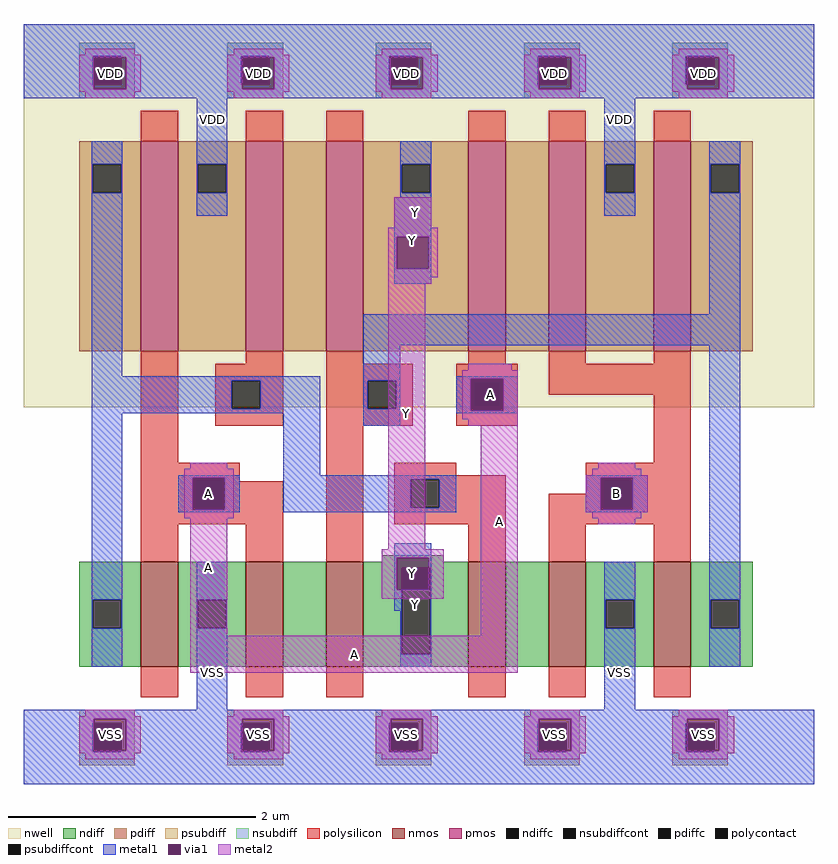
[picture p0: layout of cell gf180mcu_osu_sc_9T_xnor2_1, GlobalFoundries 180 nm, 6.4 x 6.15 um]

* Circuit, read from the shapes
.subckt gf180mcu_osu_sc_9T_xnor2_1 A Y B VDD VSS
XM1 VSS A n1 VSS nfet_03v3 w=0.85u l=0.3u
XM2 n2 A VSS VSS nfet_03v3 w=0.85u l=0.3u
XM3 Y n3 n2 VSS nfet_03v3 w=0.85u l=0.3u
XM4 n4 n1 Y VSS nfet_03v3 w=0.85u l=0.3u
XM5 VSS B n4 VSS nfet_03v3 w=0.85u l=0.3u
XM6 n3 B VSS VSS nfet_03v3 w=0.85u l=0.3u
XM7 VDD A n1 VDD pfet_03v3 w=1.7u l=0.3u
XM8 n5 n1 VDD VDD pfet_03v3 w=1.7u l=0.3u
XM9 Y n3 n5 VDD pfet_03v3 w=1.7u l=0.3u
XM10 n6 A Y VDD pfet_03v3 w=1.7u l=0.3u
XM11 VDD B n6 VDD pfet_03v3 w=1.7u l=0.3u
XM12 n3 B VDD VDD pfet_03v3 w=1.7u l=0.3u
.ends

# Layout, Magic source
magic
tech gf180mcuB
magscale 1 10
<< nwell >>
rect 0 610 1280 1230
<< nmos >>
rect 190 190 250 360
rect 360 190 420 360
rect 490 190 550 360
rect 720 190 780 360
rect 850 190 910 360
rect 1020 190 1080 360
<< pmos >>
rect 190 700 250 1040
rect 360 700 420 1040
rect 490 700 550 1040
rect 720 700 780 1040
rect 850 700 910 1040
rect 1020 700 1080 1040
<< ndiff >>
rect 580 360 680 370
rect 90 298 190 360
rect 90 252 112 298
rect 158 252 190 298
rect 90 190 190 252
rect 250 298 360 360
rect 250 252 282 298
rect 328 252 360 298
rect 250 190 360 252
rect 420 190 490 360
rect 550 350 720 360
rect 550 210 612 350
rect 658 210 720 350
rect 550 190 720 210
rect 780 190 850 360
rect 910 298 1020 360
rect 910 252 942 298
rect 988 252 1020 298
rect 910 190 1020 252
rect 1080 298 1180 360
rect 1080 252 1112 298
rect 1158 252 1180 298
rect 1080 190 1180 252
<< pdiff >>
rect 90 1003 190 1040
rect 90 957 112 1003
rect 158 957 190 1003
rect 90 700 190 957
rect 250 1003 360 1040
rect 250 957 282 1003
rect 328 957 360 1003
rect 250 700 360 957
rect 420 700 490 1040
rect 550 1003 720 1040
rect 550 957 612 1003
rect 658 957 720 1003
rect 550 700 720 957
rect 780 700 850 1040
rect 910 1003 1020 1040
rect 910 957 942 1003
rect 988 957 1020 1003
rect 910 700 1020 957
rect 1080 1003 1180 1040
rect 1080 957 1112 1003
rect 1158 957 1180 1003
rect 1080 700 1180 957
<< ndiffc >>
rect 112 252 158 298
rect 282 252 328 298
rect 612 210 658 350
rect 942 252 988 298
rect 1112 252 1158 298
<< pdiffc >>
rect 112 957 158 1003
rect 282 957 328 1003
rect 612 957 658 1003
rect 942 957 988 1003
rect 1112 957 1158 1003
<< psubdiff >>
rect 90 98 180 120
rect 90 52 112 98
rect 158 52 180 98
rect 90 30 180 52
rect 330 98 420 120
rect 330 52 352 98
rect 398 52 420 98
rect 330 30 420 52
rect 570 98 660 120
rect 570 52 592 98
rect 638 52 660 98
rect 570 30 660 52
rect 810 98 900 120
rect 810 52 832 98
rect 878 52 900 98
rect 810 30 900 52
rect 1050 98 1140 120
rect 1050 52 1072 98
rect 1118 52 1140 98
rect 1050 30 1140 52
<< nsubdiff >>
rect 90 1178 180 1200
rect 90 1132 112 1178
rect 158 1132 180 1178
rect 90 1110 180 1132
rect 330 1178 420 1200
rect 330 1132 352 1178
rect 398 1132 420 1178
rect 330 1110 420 1132
rect 570 1178 660 1200
rect 570 1132 592 1178
rect 638 1132 660 1178
rect 570 1110 660 1132
rect 810 1178 900 1200
rect 810 1132 832 1178
rect 878 1132 900 1178
rect 810 1110 900 1132
rect 1050 1178 1140 1200
rect 1050 1132 1072 1178
rect 1118 1132 1140 1178
rect 1050 1110 1140 1132
<< psubdiffcont >>
rect 112 52 158 98
rect 352 52 398 98
rect 592 52 638 98
rect 832 52 878 98
rect 1072 52 1118 98
<< nsubdiffcont >>
rect 112 1132 158 1178
rect 352 1132 398 1178
rect 592 1132 638 1178
rect 832 1132 878 1178
rect 1072 1132 1118 1178
<< polysilicon >>
rect 190 1040 250 1090
rect 360 1040 420 1090
rect 490 1040 550 1090
rect 720 1040 780 1090
rect 850 1040 910 1090
rect 1020 1040 1080 1090
rect 190 520 250 700
rect 360 680 420 700
rect 310 653 420 680
rect 310 607 337 653
rect 383 607 420 653
rect 310 580 420 607
rect 490 680 550 700
rect 720 680 780 700
rect 850 680 910 700
rect 1020 680 1080 700
rect 490 653 630 680
rect 490 607 557 653
rect 603 607 630 653
rect 490 580 630 607
rect 700 653 800 680
rect 700 607 727 653
rect 773 607 800 653
rect 850 630 1080 680
rect 700 580 800 607
rect 190 493 350 520
rect 190 447 277 493
rect 323 490 350 493
rect 323 447 420 490
rect 190 420 420 447
rect 190 360 250 420
rect 360 360 420 420
rect 490 360 550 580
rect 1020 520 1080 630
rect 600 500 700 520
rect 600 493 780 500
rect 600 447 627 493
rect 673 447 780 493
rect 910 493 1080 520
rect 910 470 937 493
rect 600 420 780 447
rect 720 360 780 420
rect 850 447 937 470
rect 983 447 1080 493
rect 850 420 1080 447
rect 850 360 910 420
rect 1020 360 1080 420
rect 190 140 250 190
rect 360 140 420 190
rect 490 140 550 190
rect 720 140 780 190
rect 850 140 910 190
rect 1020 140 1080 190
<< polycontact >>
rect 337 607 383 653
rect 557 607 603 653
rect 727 607 773 653
rect 277 447 323 493
rect 627 447 673 493
rect 937 447 983 493
<< metal1 >>
rect 0 1178 1280 1230
rect 0 1132 112 1178
rect 158 1176 352 1178
rect 398 1176 592 1178
rect 638 1176 832 1178
rect 878 1176 1072 1178
rect 1118 1176 1280 1178
rect 166 1132 352 1176
rect 406 1132 592 1176
rect 646 1132 832 1176
rect 886 1132 1072 1176
rect 0 1124 114 1132
rect 166 1124 354 1132
rect 406 1124 594 1132
rect 646 1124 834 1132
rect 886 1124 1074 1132
rect 1126 1124 1280 1176
rect 0 1110 1280 1124
rect 110 1003 160 1040
rect 110 957 112 1003
rect 158 957 160 1003
rect 110 660 160 957
rect 280 1003 330 1110
rect 280 957 282 1003
rect 328 957 330 1003
rect 280 920 330 957
rect 610 1003 660 1040
rect 610 957 612 1003
rect 658 957 660 1003
rect 610 950 660 957
rect 600 886 660 950
rect 940 1003 990 1110
rect 940 957 942 1003
rect 988 957 990 1003
rect 940 920 990 957
rect 1110 1003 1160 1040
rect 1110 957 1112 1003
rect 1158 957 1160 1003
rect 600 834 604 886
rect 656 834 660 886
rect 600 810 660 834
rect 1110 760 1160 957
rect 550 710 1160 760
rect 110 653 480 660
rect 110 607 337 653
rect 383 607 480 653
rect 110 600 480 607
rect 110 298 160 600
rect 420 500 480 600
rect 550 653 610 710
rect 550 607 557 653
rect 603 607 610 653
rect 550 580 610 607
rect 700 656 800 660
rect 700 604 724 656
rect 776 604 800 656
rect 700 600 800 604
rect 250 496 350 500
rect 250 444 274 496
rect 326 444 350 496
rect 250 440 350 444
rect 420 493 700 500
rect 420 447 627 493
rect 673 447 700 493
rect 420 440 700 447
rect 910 496 1010 500
rect 910 444 934 496
rect 986 444 1010 496
rect 910 440 1010 444
rect 600 366 660 390
rect 110 252 112 298
rect 158 252 160 298
rect 110 190 160 252
rect 280 298 330 360
rect 280 252 282 298
rect 328 252 330 298
rect 600 314 604 366
rect 656 350 660 366
rect 600 280 612 314
rect 280 120 330 252
rect 610 210 612 280
rect 658 210 660 350
rect 610 190 660 210
rect 940 298 990 360
rect 940 252 942 298
rect 988 252 990 298
rect 940 120 990 252
rect 1110 298 1160 710
rect 1110 252 1112 298
rect 1158 252 1160 298
rect 1110 190 1160 252
rect 0 106 1280 120
rect 0 98 114 106
rect 166 98 354 106
rect 406 98 594 106
rect 646 98 834 106
rect 886 98 1074 106
rect 0 52 112 98
rect 166 54 352 98
rect 406 54 592 98
rect 646 54 832 98
rect 886 54 1072 98
rect 1126 54 1280 106
rect 158 52 352 54
rect 398 52 592 54
rect 638 52 832 54
rect 878 52 1072 54
rect 1118 52 1280 54
rect 0 0 1280 52
<< via1 >>
rect 114 1132 158 1176
rect 158 1132 166 1176
rect 354 1132 398 1176
rect 398 1132 406 1176
rect 594 1132 638 1176
rect 638 1132 646 1176
rect 834 1132 878 1176
rect 878 1132 886 1176
rect 1074 1132 1118 1176
rect 1118 1132 1126 1176
rect 114 1124 166 1132
rect 354 1124 406 1132
rect 594 1124 646 1132
rect 834 1124 886 1132
rect 1074 1124 1126 1132
rect 604 834 656 886
rect 724 653 776 656
rect 724 607 727 653
rect 727 607 773 653
rect 773 607 776 653
rect 724 604 776 607
rect 274 493 326 496
rect 274 447 277 493
rect 277 447 323 493
rect 323 447 326 493
rect 274 444 326 447
rect 934 493 986 496
rect 934 447 937 493
rect 937 447 983 493
rect 983 447 986 493
rect 934 444 986 447
rect 604 350 656 366
rect 604 314 612 350
rect 612 314 656 350
rect 114 98 166 106
rect 354 98 406 106
rect 594 98 646 106
rect 834 98 886 106
rect 1074 98 1126 106
rect 114 54 158 98
rect 158 54 166 98
rect 354 54 398 98
rect 398 54 406 98
rect 594 54 638 98
rect 638 54 646 98
rect 834 54 878 98
rect 878 54 886 98
rect 1074 54 1118 98
rect 1118 54 1126 98
<< metal2 >>
rect 100 1180 180 1190
rect 340 1180 420 1190
rect 580 1180 660 1190
rect 820 1180 900 1190
rect 1060 1180 1140 1190
rect 90 1176 190 1180
rect 90 1124 114 1176
rect 166 1124 190 1176
rect 90 1120 190 1124
rect 330 1176 430 1180
rect 330 1124 354 1176
rect 406 1124 430 1176
rect 330 1120 430 1124
rect 570 1176 670 1180
rect 570 1124 594 1176
rect 646 1124 670 1176
rect 570 1120 670 1124
rect 810 1176 910 1180
rect 810 1124 834 1176
rect 886 1124 910 1176
rect 810 1120 910 1124
rect 1050 1176 1150 1180
rect 1050 1124 1074 1176
rect 1126 1124 1150 1176
rect 1050 1120 1150 1124
rect 100 1110 180 1120
rect 340 1110 420 1120
rect 580 1110 660 1120
rect 820 1110 900 1120
rect 1060 1110 1140 1120
rect 600 900 660 950
rect 590 886 670 900
rect 590 834 604 886
rect 656 834 670 886
rect 590 820 670 834
rect 590 810 660 820
rect 270 510 330 520
rect 260 496 340 510
rect 260 444 274 496
rect 326 444 340 496
rect 260 430 340 444
rect 270 240 330 430
rect 590 380 650 810
rect 720 670 790 680
rect 710 656 800 670
rect 710 604 724 656
rect 776 604 800 656
rect 710 590 800 604
rect 720 580 800 590
rect 580 366 680 380
rect 580 314 604 366
rect 656 314 680 366
rect 580 300 680 314
rect 740 240 800 580
rect 930 510 990 520
rect 920 500 1000 510
rect 910 496 1010 500
rect 910 444 934 496
rect 986 444 1010 496
rect 910 440 1010 444
rect 920 430 1000 440
rect 930 420 990 430
rect 270 180 800 240
rect 100 110 180 120
rect 340 110 420 120
rect 580 110 660 120
rect 820 110 900 120
rect 1060 110 1140 120
rect 90 106 190 110
rect 90 54 114 106
rect 166 54 190 106
rect 90 50 190 54
rect 330 106 430 110
rect 330 54 354 106
rect 406 54 430 106
rect 330 50 430 54
rect 570 106 670 110
rect 570 54 594 106
rect 646 54 670 106
rect 570 50 670 54
rect 810 106 910 110
rect 810 54 834 106
rect 886 54 910 106
rect 810 50 910 54
rect 1050 106 1150 110
rect 1050 54 1074 106
rect 1126 54 1150 106
rect 1050 50 1150 54
rect 100 40 180 50
rect 340 40 420 50
rect 580 40 660 50
rect 820 40 900 50
rect 1060 40 1140 50
<< labels >>
rlabel metal2 s 100 1110 180 1190 4 VDD
port 8 nsew power bidirectional abutment
rlabel metal2 s 100 40 180 120 4 VSS
port 9 nsew ground bidirectional
rlabel metal2 s 270 180 330 520 4 A
port 1 nsew signal input
rlabel metal2 s 590 300 650 900 4 Y
port 2 nsew signal output
rlabel metal2 s 930 420 990 520 4 B
port 3 nsew signal input
rlabel metal2 s 260 430 340 510 1 A
port 1 nsew signal input
rlabel metal2 s 270 180 800 240 1 A
port 1 nsew signal input
rlabel metal2 s 720 580 790 680 1 A
port 1 nsew signal input
rlabel metal2 s 740 180 800 670 1 A
port 1 nsew signal input
rlabel metal2 s 710 590 800 670 1 A
port 1 nsew signal input
rlabel metal1 s 250 440 350 500 1 A
port 1 nsew signal input
rlabel metal1 s 700 600 800 660 1 A
port 1 nsew signal input
rlabel metal2 s 920 430 1000 510 1 B
port 3 nsew signal input
rlabel metal2 s 910 440 1010 500 1 B
port 3 nsew signal input
rlabel metal1 s 910 440 1010 500 1 B
port 3 nsew signal input
rlabel metal2 s 90 1120 190 1180 1 VDD
port 8 nsew power bidirectional abutment
rlabel metal2 s 340 1110 420 1190 1 VDD
port 8 nsew power bidirectional abutment
rlabel metal2 s 330 1120 430 1180 1 VDD
port 8 nsew power bidirectional abutment
rlabel metal2 s 580 1110 660 1190 1 VDD
port 8 nsew power bidirectional abutment
rlabel metal2 s 570 1120 670 1180 1 VDD
port 8 nsew power bidirectional abutment
rlabel metal2 s 820 1110 900 1190 1 VDD
port 8 nsew power bidirectional abutment
rlabel metal2 s 810 1120 910 1180 1 VDD
port 8 nsew power bidirectional abutment
rlabel metal2 s 1060 1110 1140 1190 1 VDD
port 8 nsew power bidirectional abutment
rlabel metal2 s 1050 1120 1150 1180 1 VDD
port 8 nsew power bidirectional abutment
rlabel metal1 s 280 920 330 1230 1 VDD
port 8 nsew power bidirectional abutment
rlabel metal1 s 940 920 990 1230 1 VDD
port 8 nsew power bidirectional abutment
rlabel metal1 s 0 1110 1280 1230 1 VDD
port 8 nsew power bidirectional abutment
rlabel metal2 s 90 50 190 110 1 VSS
port 9 nsew ground bidirectional
rlabel metal2 s 340 40 420 120 1 VSS
port 9 nsew ground bidirectional
rlabel metal2 s 330 50 430 110 1 VSS
port 9 nsew ground bidirectional
rlabel metal2 s 580 40 660 120 1 VSS
port 9 nsew ground bidirectional
rlabel metal2 s 570 50 670 110 1 VSS
port 9 nsew ground bidirectional
rlabel metal2 s 820 40 900 120 1 VSS
port 9 nsew ground bidirectional
rlabel metal2 s 810 50 910 110 1 VSS
port 9 nsew ground bidirectional
rlabel metal2 s 1060 40 1140 120 1 VSS
port 9 nsew ground bidirectional
rlabel metal2 s 1050 50 1150 110 1 VSS
port 9 nsew ground bidirectional
rlabel metal1 s 280 0 330 360 1 VSS
port 9 nsew ground bidirectional
rlabel metal1 s 940 0 990 360 1 VSS
port 9 nsew ground bidirectional
rlabel metal1 s 0 0 1280 120 1 VSS
port 9 nsew ground bidirectional
rlabel metal2 s 600 810 660 950 1 Y
port 2 nsew signal output
rlabel metal2 s 590 820 670 900 1 Y
port 2 nsew signal output
rlabel metal2 s 580 300 680 380 1 Y
port 2 nsew signal output
rlabel metal1 s 600 810 660 950 1 Y
port 2 nsew signal output
rlabel metal1 s 610 810 660 1040 1 Y
port 2 nsew signal output
rlabel metal1 s 610 190 660 390 1 Y
port 2 nsew signal output
rlabel metal1 s 600 280 660 390 1 Y
port 2 nsew signal output
<< properties >>
string FIXED_BBOX 0 0 1280 1230
string GDS_END 456236
string GDS_FILE $PDKPATH/libs.ref/gf180mcu_osu_sc_9T/gds/gf180mcu_osu_sc_9T.gds
string GDS_START 445158
string LEFclass CORE
string LEFsite GF018hv5v_mcu_sc7
string LEFsymmetry X Y
<< end >>
